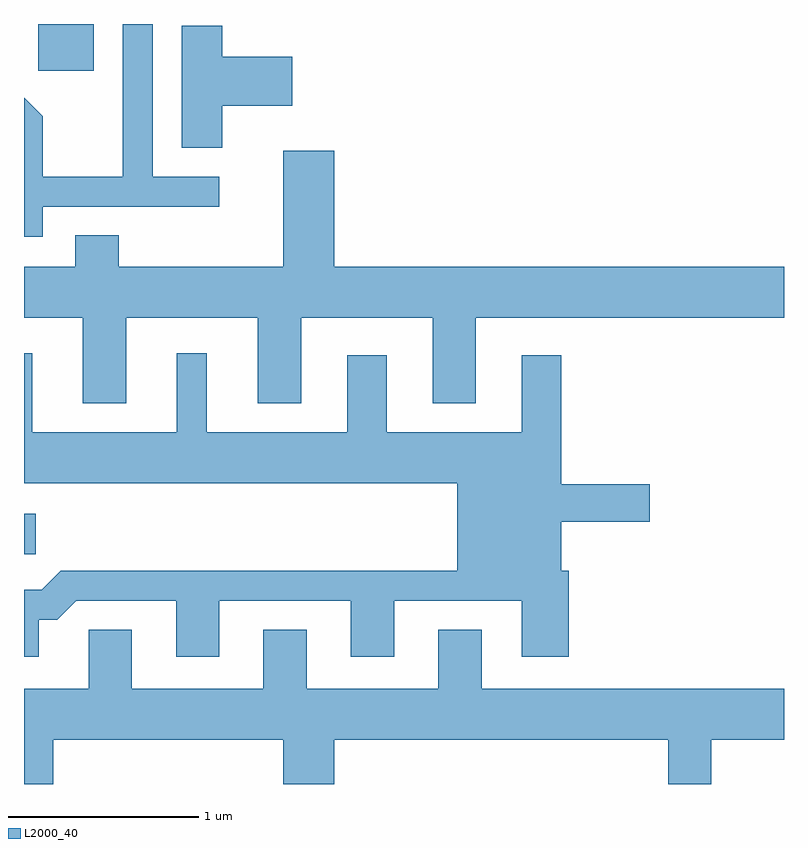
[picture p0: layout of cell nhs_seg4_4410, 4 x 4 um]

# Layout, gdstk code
import gdstk
lib = gdstk.Library(unit=1e-6, precision=1e-09)
def R(c, l, rs):  # rectangles x0, y0, x1, y1
    for r in rs: c.add(gdstk.rectangle(r[:2], r[2:], *l))
def P(c, l, *ps):  # polygons
    for p in ps: c.add(gdstk.Polygon(p, *l))
L2000_40 = (2000, 40)

nhs_seg4_4410 = lib.new_cell('nhs_seg4_4410')
R(nhs_seg4_4410, L2000_40, [(313.611,1371.191,313.674,1371.404), (313.686,1373.736,313.979,1373.982)])
P(nhs_seg4_4410, L2000_40, [(313.709,1373.021),(314.638,1373.021),(314.638,1373.179),(314.289,1373.179),(314.289,1373.982),(314.131,1373.982),(314.131,1373.179),(313.709,1373.179),(313.709,1373.497),(313.611,1373.595),(313.611,1372.861),(313.709,1372.861)],
  [(314.654,1373.551),(315.024,1373.551),(315.024,1373.809),(314.654,1373.809),(314.654,1373.974),(314.441,1373.974),(314.441,1373.331),(314.654,1373.331)],
  [(314.149,1372.436),(314.841,1372.436),(314.841,1371.986),(315.069,1371.986),(315.069,1372.436),(315.761,1372.436),(315.761,1371.986),(315.989,1371.986),(315.989,1372.436),(317.611,1372.436),(317.611,1372.704),(315.244,1372.704),(315.244,1373.314),(314.976,1373.314),(314.976,1372.704),(314.109,1372.704),(314.109,1372.869),(313.881,1372.869),(313.881,1372.704),(313.611,1372.704),(313.611,1372.436),(313.921,1372.436),(313.921,1371.986),(314.149,1371.986)],
  [(313.689,1370.846),(313.787,1370.846),(313.887,1370.946),(314.411,1370.946),(314.411,1370.651),(314.639,1370.651),(314.639,1370.946),(315.331,1370.946),(315.331,1370.651),(315.559,1370.651),(315.559,1370.946),(316.231,1370.946),(316.231,1370.651),(316.479,1370.651),(316.479,1371.104),(316.439,1371.104),(316.439,1371.361),(316.904,1371.361),(316.904,1371.559),(316.439,1371.559),(316.439,1372.239),(316.231,1372.239),(316.231,1371.834),(315.519,1371.834),(315.519,1372.239),(315.311,1372.239),(315.311,1371.834),(314.574,1371.834),(314.574,1372.248),(314.416,1372.248),(314.416,1371.834),(313.654,1371.834),(313.654,1372.248),(313.611,1372.248),(313.611,1371.566),(315.891,1371.566),(315.891,1371.104),(313.804,1371.104),(313.704,1371.004),(313.611,1371.004),(313.611,1370.651),(313.689,1370.651)],
  [(313.764,1370.216),(314.976,1370.216),(314.976,1369.982),(315.244,1369.982),(315.244,1370.216),(317.001,1370.216),(317.001,1369.982),(317.229,1369.982),(317.229,1370.216),(317.611,1370.216),(317.611,1370.484),(316.019,1370.484),(316.019,1370.794),(315.791,1370.794),(315.791,1370.484),(315.099,1370.484),(315.099,1370.794),(314.871,1370.794),(314.871,1370.484),(314.179,1370.484),(314.179,1370.794),(313.951,1370.794),(313.951,1370.484),(313.611,1370.484),(313.611,1369.982),(313.764,1369.982)])

lib.write_gds('nhs_seg4_4410.gds')
